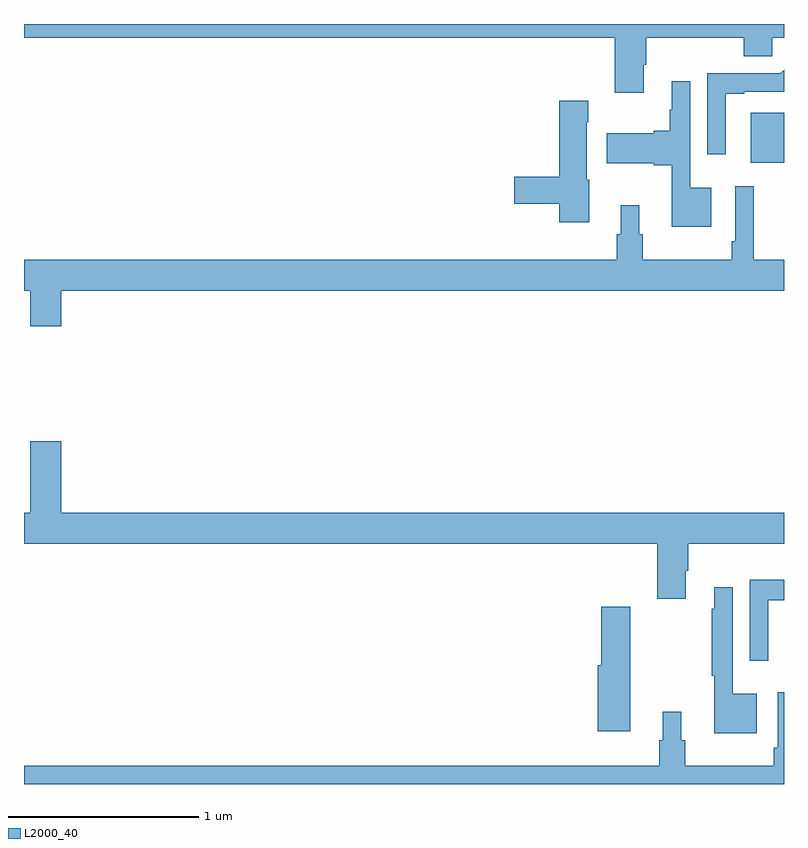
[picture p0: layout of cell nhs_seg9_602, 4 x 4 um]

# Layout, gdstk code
import gdstk
lib = gdstk.Library(unit=1e-6, precision=1e-09)
def R(c, l, rs):  # rectangles x0, y0, x1, y1
    for r in rs: c.add(gdstk.rectangle(r[:2], r[2:], *l))
def P(c, l, *ps):  # polygons
    for p in ps: c.add(gdstk.Polygon(p, *l))
L2000_40 = (2000, 40)

nhs_seg9_602 = lib.new_cell('nhs_seg9_602')
R(nhs_seg9_602, L2000_40, [(144.824,1187.771,145,1188.034)])
P(nhs_seg9_602, L2000_40, [(144.262,1188.286),(144.275,1188.286),(144.275,1188.428),(144.788,1188.428),(144.788,1188.33),(144.939,1188.33),(144.939,1188.428),(145,1188.428),(145,1188.5),(141,1188.5),(141,1188.428),(144.11,1188.428),(144.11,1188.138),(144.262,1188.138)],
  [(144.694,1188.132),(144.79,1188.132),(144.79,1188.144),(145,1188.144),(145,1188.259),(144.981,1188.24),(144.597,1188.24),(144.597,1187.814),(144.694,1187.814)],
  [(144.616,1187.638),(144.507,1187.638),(144.507,1188.199),(144.41,1188.199),(144.41,1188.05),(144.399,1188.05),(144.399,1187.939),(144.314,1187.939),(144.314,1187.926),(144.066,1187.926),(144.066,1187.768),(144.314,1187.768),(144.314,1187.756),(144.41,1187.756),(144.41,1187.432),(144.616,1187.432)],
  [(143.976,1187.679),(143.962,1187.679),(143.962,1187.984),(143.97,1187.984),(143.97,1188.097),(143.816,1188.097),(143.816,1187.696),(143.58,1187.696),(143.58,1187.554),(143.816,1187.554),(143.816,1187.456),(143.976,1187.456)],
  [(141.196,1187.096),(145,1187.096),(145,1187.26),(144.842,1187.26),(144.842,1187.647),(144.744,1187.647),(144.744,1187.356),(144.724,1187.356),(144.724,1187.26),(144.257,1187.26),(144.257,1187.394),(144.238,1187.394),(144.238,1187.545),(144.14,1187.545),(144.14,1187.394),(144.121,1187.394),(144.121,1187.26),(141,1187.26),(141,1187.096),(141.032,1187.096),(141.032,1186.908),(141.196,1186.908)],
  [(144.484,1185.622),(144.497,1185.622),(144.497,1185.764),(145,1185.764),(145,1185.928),(141.196,1185.928),(141.196,1186.303),(141.032,1186.303),(141.032,1185.928),(141,1185.928),(141,1185.764),(144.332,1185.764),(144.332,1185.474),(144.484,1185.474)],
  [(144.916,1185.468),(145,1185.468),(145,1185.576),(144.819,1185.576),(144.819,1185.15),(144.916,1185.15)],
  [(144.856,1184.974),(144.729,1184.974),(144.729,1185.535),(144.632,1185.535),(144.632,1185.422),(144.621,1185.422),(144.621,1185.07),(144.632,1185.07),(144.632,1184.768),(144.856,1184.768)],
  [(144.19,1185.126),(144.192,1185.126),(144.192,1185.433),(144.038,1185.433),(144.038,1185.126),(144.02,1185.126),(144.02,1184.778),(144.19,1184.778)],
  [(145,1184.983),(144.966,1184.983),(144.966,1184.692),(144.946,1184.692),(144.946,1184.596),(144.479,1184.596),(144.479,1184.73),(144.46,1184.73),(144.46,1184.881),(144.362,1184.881),(144.362,1184.73),(144.343,1184.73),(144.343,1184.596),(141,1184.596),(141,1184.5),(145,1184.5)])

lib.write_gds('nhs_seg9_602.gds')
